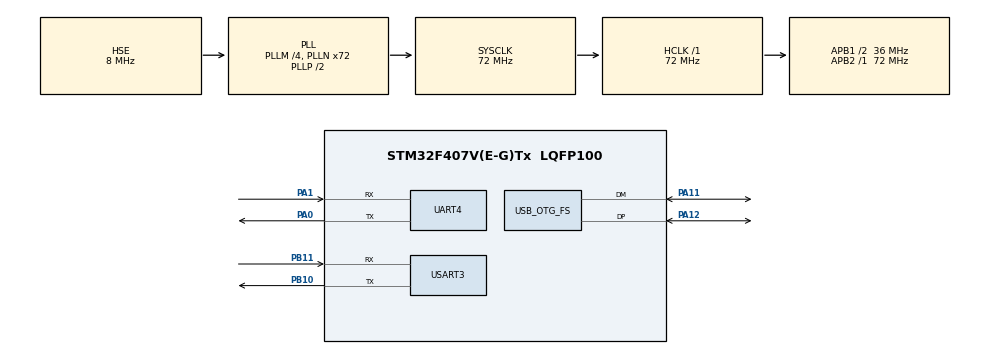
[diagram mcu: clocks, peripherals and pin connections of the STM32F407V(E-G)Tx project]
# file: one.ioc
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Mcu.Family=STM32F4
Mcu.Name=STM32F407V(E-G)Tx
Mcu.Package=LQFP100
NVIC.OTG_FS_IRQn=true\:0\:0\:false\:false\:true\:false\:true\:true
NVIC.PriorityGroup=NVIC_PRIORITYGROUP_4
PA0-WKUP.Mode=Asynchronous
PA0-WKUP.Signal=UART4_TX
PA1.Mode=Asynchronous
PA1.Signal=UART4_RX
PA11.Mode=Device_Only
PA11.Signal=USB_OTG_FS_DM
PA12.Mode=Device_Only
PA12.Signal=USB_OTG_FS_DP
PB10.Mode=Asynchronous
PB10.Signal=USART3_TX
PB11.Mode=Asynchronous
PB11.Signal=USART3_RX
PH0-OSC_IN.Mode=HSE-External-Oscillator
PH0-OSC_IN.Signal=RCC_OSC_IN
PH1-OSC_OUT.Mode=HSE-External-Oscillator
PH1-OSC_OUT.Signal=RCC_OSC_OUT
ProjectManager.HeapSize=0x200
ProjectManager.StackSize=0x400
ProjectManager.TargetToolchain=MDK-ARM V5
RCC.48MHZClocksFreq_Value=48000000
RCC.AHBFreq_Value=72000000
RCC.APB1CLKDivider=RCC_HCLK_DIV2
RCC.APB1Freq_Value=36000000
RCC.APB1TimFreq_Value=72000000
RCC.APB2Freq_Value=72000000
RCC.APB2TimFreq_Value=72000000
RCC.CortexFreq_Value=72000000
RCC.HCLKFreq_Value=72000000
RCC.HSE_VALUE=8000000
RCC.HSI_VALUE=16000000
RCC.LSE_VALUE=32768
RCC.PLLM=4
RCC.PLLN=72
RCC.PLLQ=3
RCC.SYSCLKFreq_VALUE=72000000
RCC.SYSCLKSource=RCC_SYSCLKSOURCE_PLLCLK
RCC.VCOOutputFreq_Value=144000000
UART4.VirtualMode=Asynchronous
USART3.VirtualMode=VM_ASYNC
USB_DEVICE.CLASS_NAME_FS=CUSTOM_HID
USB_DEVICE.VirtualMode-CUSTOM_HID_FS=CustomHid
USB_DEVICE.VirtualModeFS=Custom_Hid_FS
USB_OTG_FS.VirtualMode=Device_Only
VP_USB_DEVICE_VS_USB_DEVICE_CUSTOM_HID_FS.Mode=CUSTOM_HID_FS
board=custom

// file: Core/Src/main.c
/* USER CODE BEGIN Header */
/**
  ******************************************************************************
  * @file           : main.c
  * @brief          : Main program body
  ******************************************************************************
  * @attention
  *
  * Copyright (c) 2026 STMicroelectronics.
  * All rights reserved.
  *
  * This software is licensed under terms that can be found in the LICENSE file
  * in the root directory of this software component.
  * If no LICENSE file comes with this software, it is provided AS-IS.
  *
  ******************************************************************************
  */
/* USER CODE END Header */
#include "main.h"
#include "usart.h"
#include "usb_device.h"
#include "gpio.h"

/* USER CODE BEGIN Includes */
#include "usb_device.h"
#include "usbd_customhid.h"
#include "usbd_custom_hid_if.h"
extern USBD_HandleTypeDef hUsbDeviceFS;
/* USER CODE END Includes */

void SystemClock_Config(void);

/* USER CODE BEGIN 0 */
typedef struct __attribute__((packed))
{
    uint8_t  report_id;   // = 1
    uint16_t buttons;     // 16个按钮
    uint8_t  hat;         // 0~7, 松开可填 0x0F
    int16_t  wheel;       // -32767 ~ 32767
    uint16_t accel;       // 0 ~ 32767
    uint16_t brake;       // 0 ~ 32767
    uint16_t clutch;      // 0 ~ 32767
} HID_WheelReport_t;

HID_WheelReport_t report = {1, 0x0000, 0x0F, 0, 0, 0, 0};

/* USER CODE END 0 */

int main(void)
{

  /* USER CODE BEGIN 1 */
report.report_id = 1;
report.buttons   = 0x0000;
report.hat       = 0x0F;   // 无方向
report.wheel     = 0;      // 中位
report.accel     = 0;
report.brake     = 0;
report.clutch    = 0;

  /* USER CODE END 1 */

  /* MCU Configuration--------------------------------------------------------*/

  /* Reset of all peripherals, Initializes the Flash interface and the Systick. */
  HAL_Init();

  /* Configure the system clock */
  SystemClock_Config();

  /* Initialize all configured peripherals */
  MX_GPIO_Init();
  MX_USB_DEVICE_Init();
  MX_UART4_Init();
  MX_USART3_UART_Init();
  /* USER CODE BEGIN 2 */
	HAL_Delay(100);  // 等待USB枚举完成
	uint8_t pid_state[4] = {
			0x07,  // Report ID
			0x01,  // Effect Block Index
			0x03,  // bit0=Effect Playing, bit1=Actuators Enabled
			0x00
	};
	USBD_CUSTOM_HID_SendReport(&hUsbDeviceFS, pid_state, 4);
  /* USER CODE END 2 */

  /* Infinite loop */
  /* USER CODE BEGIN WHILE */
  while (1)
  {
    static uint32_t last_tick = 0;
    if (HAL_GetTick() - last_tick >= 50)
    {
        last_tick = HAL_GetTick();

        uint8_t pid_state[4] = {0x07, 0x01, 0x03, 0x00};
//        USBD_CUSTOM_HID_SendReport(&hUsbDeviceFS, pid_state, 4);

//        printf("hello\n");
    }
    /* USER CODE END WHILE */

  }
}

void SystemClock_Config(void)
{
  RCC_OscInitTypeDef RCC_OscInitStruct = {0};
  RCC_ClkInitTypeDef RCC_ClkInitStruct = {0};

  /** Configure the main internal regulator output voltage
  */
  __HAL_RCC_PWR_CLK_ENABLE();
  __HAL_PWR_VOLTAGESCALING_CONFIG(PWR_REGULATOR_VOLTAGE_SCALE1);

  /** Initializes the RCC Oscillators according to the specified parameters
  * in the RCC_OscInitTypeDef structure.
  */
  RCC_OscInitStruct.OscillatorType = RCC_OSCILLATORTYPE_HSE;
  RCC_OscInitStruct.HSEState = RCC_HSE_ON;
  RCC_OscInitStruct.PLL.PLLState = RCC_PLL_ON;
  RCC_OscInitStruct.PLL.PLLSource = RCC_PLLSOURCE_HSE;
  RCC_OscInitStruct.PLL.PLLM = 4;
  RCC_OscInitStruct.PLL.PLLN = 72;
  RCC_OscInitStruct.PLL.PLLP = RCC_PLLP_DIV2;
  RCC_OscInitStruct.PLL.PLLQ = 3;
  if (HAL_RCC_OscConfig(&RCC_OscInitStruct) != HAL_OK)
  {
    Error_Handler();
  }

  /** Initializes the CPU, AHB and APB buses clocks
  */
  RCC_ClkInitStruct.ClockType = RCC_CLOCKTYPE_HCLK|RCC_CLOCKTYPE_SYSCLK
                              |RCC_CLOCKTYPE_PCLK1|RCC_CLOCKTYPE_PCLK2;
  RCC_ClkInitStruct.SYSCLKSource = RCC_SYSCLKSOURCE_PLLCLK;
  RCC_ClkInitStruct.AHBCLKDivider = RCC_SYSCLK_DIV1;
  RCC_ClkInitStruct.APB1CLKDivider = RCC_HCLK_DIV2;
  RCC_ClkInitStruct.APB2CLKDivider = RCC_HCLK_DIV1;

  if (HAL_RCC_ClockConfig(&RCC_ClkInitStruct, FLASH_LATENCY_2) != HAL_OK)
  {
    Error_Handler();
  }
}

void Error_Handler(void)
{
  __disable_irq();
  while (1)
  {
  }
}
